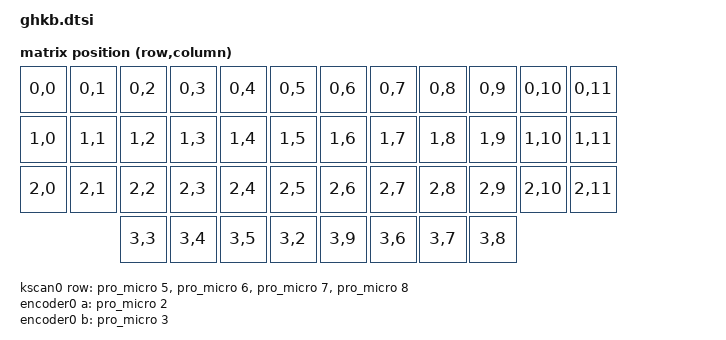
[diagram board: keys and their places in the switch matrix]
/*
 * Copyright (c) 2026 pixel-and-circuit
 * SPDX-License-Identifier: MIT
 */

#include <dt-bindings/gpio/gpio.h>
#include <dt-bindings/zmk/matrix_transform.h>

/ {
    chosen {
        zmk,kscan = &kscan0;
        zmk,physical-layout = &ghkb_layout;
    };

    ghkb_layout: ghkb_layout {
        compatible = "zmk,physical-layout";
        display-name = "GHKB";
        transform = <&default_transform>;
        // `keys` (x/y positions for ZMK Studio) intentionally omitted
        // for v0.1 - optional per zmk,physical-layout.yaml, not
        // required to build.
    };

    default_transform: keymap_transform_0 {
        compatible = "zmk,matrix-transform";
        columns = <12>;
        rows = <4>;

        // Left: outer pinky ring middle index inner | inner index middle ring pinky outer :Right
        //                    near  home  far  [enc]  | [enc]  far  home  near
        //
        // Thumb/encoder RC() column values come from borrowed main-matrix
        // column nets (near=P18/middle, home=P15/index, far=P14/inner,
        // encoder-push=P19/ring - see kscan0 col-gpios below), so they
        // don't ascend in electrical order the way the main matrix does.
        // Sequence here is instead chosen to match true physical
        // left-to-right position per pcb/ergogen/config.yaml's anchors:
        // thumbs zone lists near/home/far in that (left-to-right) order,
        // and the encoder is anchored at thumbs_far + [1.1kx, *] (i.e.
        // further right than "far", toward the center gap). Not yet
        // confirmed against a rendered layout or real hardware (GYE-275).
        map = <
            RC(0,0) RC(0,1) RC(0,2) RC(0,3) RC(0,4) RC(0,5)   RC(0,6) RC(0,7) RC(0,8) RC(0,9) RC(0,10) RC(0,11)
            RC(1,0) RC(1,1) RC(1,2) RC(1,3) RC(1,4) RC(1,5)   RC(1,6) RC(1,7) RC(1,8) RC(1,9) RC(1,10) RC(1,11)
            RC(2,0) RC(2,1) RC(2,2) RC(2,3) RC(2,4) RC(2,5)   RC(2,6) RC(2,7) RC(2,8) RC(2,9) RC(2,10) RC(2,11)
                            RC(3,3) RC(3,4) RC(3,5) RC(3,2)   RC(3,9) RC(3,6) RC(3,7) RC(3,8)
        >;
    };

    kscan0: kscan {
        compatible = "zmk,kscan-gpio-matrix";
        wakeup-source;
        diode-direction = "col2row";

        row-gpios
            = <&pro_micro 5 (GPIO_ACTIVE_HIGH | GPIO_PULL_DOWN)>  // P5 top
            , <&pro_micro 6 (GPIO_ACTIVE_HIGH | GPIO_PULL_DOWN)>  // P6 home
            , <&pro_micro 7 (GPIO_ACTIVE_HIGH | GPIO_PULL_DOWN)>  // P7 bottom
            , <&pro_micro 8 (GPIO_ACTIVE_HIGH | GPIO_PULL_DOWN)>  // P8 thumb
            ;
        // col-gpios is intentionally left undefined here; each side
        // wires its own physical column order in ghkb_<side>.overlay.
    };

    // EC11 rotary encoder: A/C are direct GPIOs (not part of the kscan
    // matrix); the encoder's pushbutton (S1/S2) reuses the ring x thumb
    // matrix cell and is handled in the transform above as RC(3,2)/RC(3,9).
    encoder0: encoder0 {
        compatible = "alps,ec11";
        a-gpios = <&pro_micro 2 GPIO_PULL_UP>;  // P2
        b-gpios = <&pro_micro 3 GPIO_PULL_UP>;  // P3 ("C" in config.yaml)
        steps = <80>;
        status = "okay";
    };

    sensors: sensors {
        compatible = "zmk,keymap-sensors";
        sensors = <&encoder0>;
        triggers-per-rotation = <20>;
    };
};
